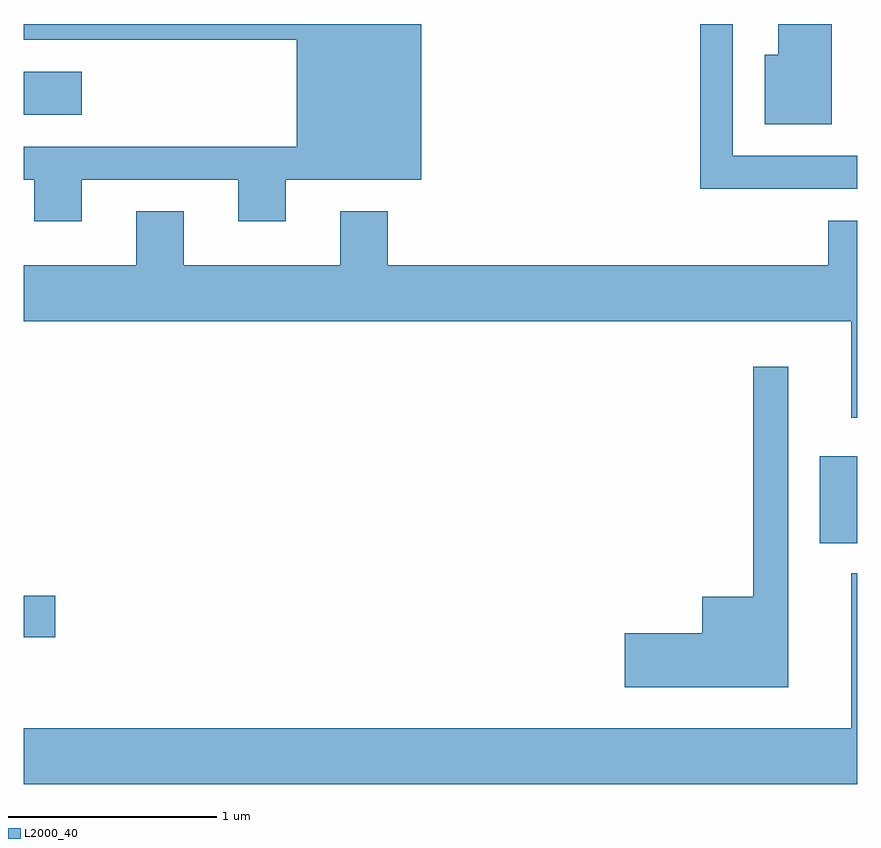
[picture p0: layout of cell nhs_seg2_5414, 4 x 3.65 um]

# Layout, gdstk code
import gdstk
lib = gdstk.Library(unit=1e-6, precision=1e-09)
def R(c, l, rs):  # rectangles x0, y0, x1, y1
    for r in rs: c.add(gdstk.rectangle(r[:2], r[2:], *l))
def P(c, l, *ps):  # polygons
    for p in ps: c.add(gdstk.Polygon(p, *l))
L2000_40 = (2000, 40)

nhs_seg2_5414 = lib.new_cell('nhs_seg2_5414')
R(nhs_seg2_5414, L2000_40, [(345.611,986.861,345.764,987.059), (349.431,987.311,349.611,987.729), (345.611,989.366,345.889,989.574)])
P(nhs_seg2_5414, L2000_40, [(345.889,989.056),(346.641,989.056),(346.641,988.856),(346.869,988.856),(346.869,989.056),(347.519,989.056),(347.519,989.802),(345.611,989.802),(345.611,989.726),(346.921,989.726),(346.921,989.214),(345.611,989.214),(345.611,989.056),(345.661,989.056),(345.661,988.856),(345.889,988.856)],
  [(349.611,989.169),(349.014,989.169),(349.014,989.802),(348.856,989.802),(348.856,989.011),(349.611,989.011)],
  [(349.489,989.802),(349.231,989.802),(349.231,989.654),(349.166,989.654),(349.166,989.321),(349.489,989.321)],
  [(349.611,988.859),(349.471,988.859),(349.471,988.644),(347.359,988.644),(347.359,988.904),(347.131,988.904),(347.131,988.644),(346.379,988.644),(346.379,988.904),(346.151,988.904),(346.151,988.644),(345.611,988.644),(345.611,988.376),(349.581,988.376),(349.581,987.913),(349.611,987.913)],
  [(349.279,988.158),(349.111,988.158),(349.111,987.054),(348.866,987.054),(348.866,986.879),(348.496,986.879),(348.496,986.621),(349.279,986.621)],
  [(349.611,987.168),(349.581,987.168),(349.581,986.424),(345.611,986.424),(345.611,986.156),(349.611,986.156)])

lib.write_gds('nhs_seg2_5414.gds')
